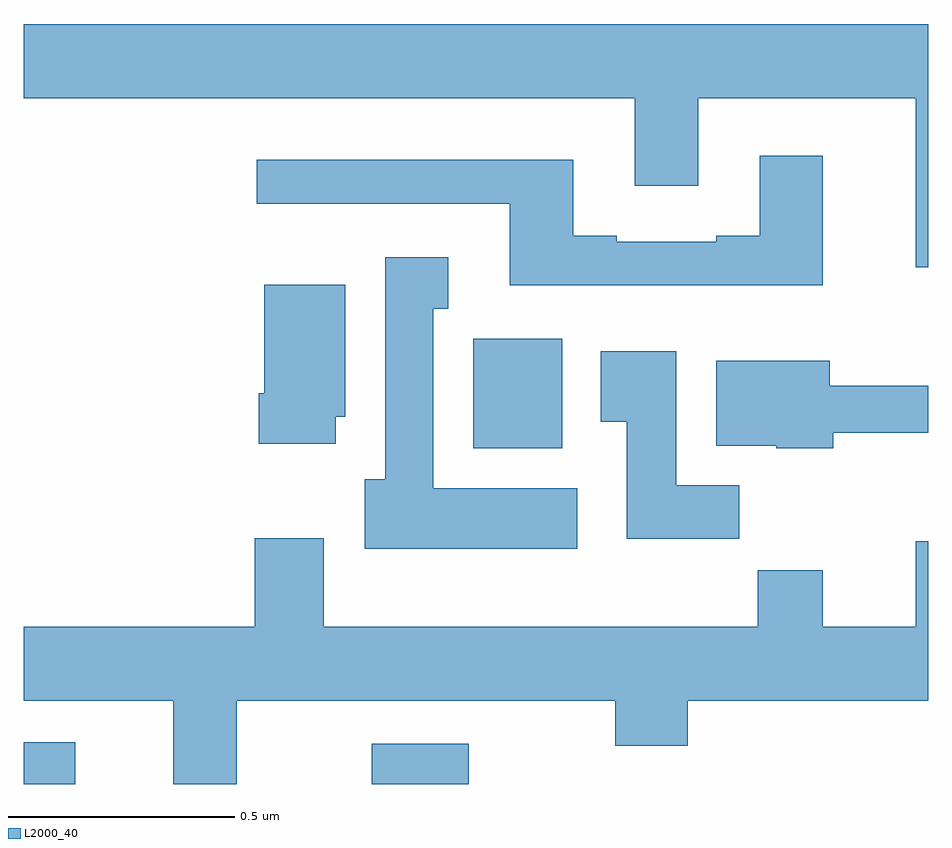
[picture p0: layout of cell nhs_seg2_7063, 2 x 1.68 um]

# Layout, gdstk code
import gdstk
lib = gdstk.Library(unit=1e-6, precision=1e-09)
def R(c, l, rs):  # rectangles x0, y0, x1, y1
    for r in rs: c.add(gdstk.rectangle(r[:2], r[2:], *l))
def P(c, l, *ps):  # polygons
    for p in ps: c.add(gdstk.Polygon(p, *l))
L2000_40 = (2000, 40)

nhs_seg2_7063 = lib.new_cell('nhs_seg2_7063')
R(nhs_seg2_7063, L2000_40, [(199,632.8,199.114,632.892), (199.769,632.8,199.984,632.889), (199.994,633.542,200.191,633.784)])
P(nhs_seg2_7063, L2000_40, [(201,634.48),(199,634.48),(199,634.316),(200.351,634.316),(200.351,634.122),(200.491,634.122),(200.491,634.316),(200.972,634.316),(200.972,633.942),(201,633.942)],
  [(200.767,634.189),(200.627,634.189),(200.627,634.012),(200.531,634.012),(200.531,633.999),(200.311,633.999),(200.311,634.012),(200.215,634.012),(200.215,634.18),(199.515,634.18),(199.515,634.083),(200.075,634.083),(200.075,633.902),(200.767,633.902)],
  [(200.224,633.454),(199.906,633.454),(199.906,633.851),(199.939,633.851),(199.939,633.964),(199.799,633.964),(199.799,633.474),(199.754,633.474),(199.754,633.32),(200.224,633.32)],
  [(199.69,633.612),(199.711,633.612),(199.711,633.904),(199.532,633.904),(199.532,633.664),(199.52,633.664),(199.52,633.552),(199.69,633.552)],
  [(200.582,633.46),(200.443,633.46),(200.443,633.757),(200.276,633.757),(200.276,633.601),(200.333,633.601),(200.333,633.342),(200.582,633.342)],
  [(200.79,633.577),(201,633.577),(201,633.68),(200.782,633.68),(200.782,633.736),(200.531,633.736),(200.531,633.548),(200.664,633.548),(200.664,633.542),(200.79,633.542)],
  [(199.471,632.984),(200.308,632.984),(200.308,632.885),(200.468,632.885),(200.468,632.984),(201,632.984),(201,633.337),(200.972,633.337),(200.972,633.148),(200.767,633.148),(200.767,633.272),(200.623,633.272),(200.623,633.148),(199.663,633.148),(199.663,633.343),(199.511,633.343),(199.511,633.148),(199,633.148),(199,632.984),(199.331,632.984),(199.331,632.8),(199.471,632.8)])

lib.write_gds('nhs_seg2_7063.gds')
